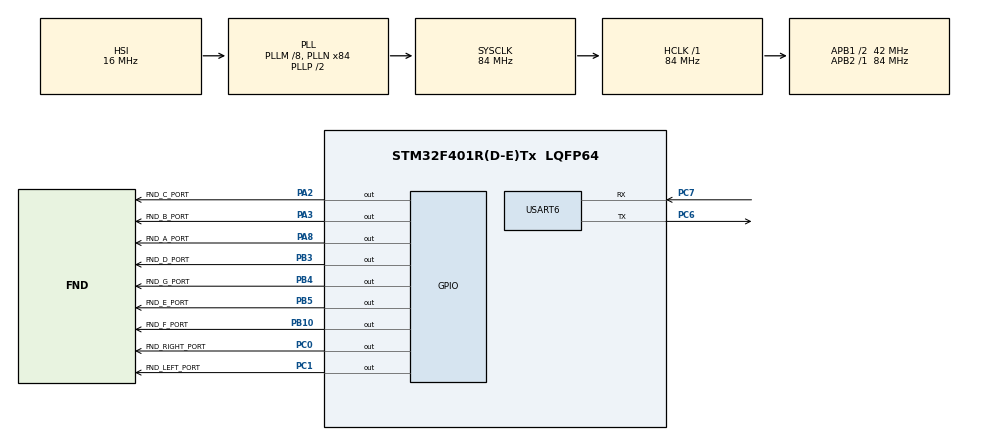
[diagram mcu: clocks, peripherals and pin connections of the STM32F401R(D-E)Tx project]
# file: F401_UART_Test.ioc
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Mcu.Family=STM32F4
Mcu.Name=STM32F401R(D-E)Tx
Mcu.Package=LQFP64
NVIC.PriorityGroup=NVIC_PRIORITYGROUP_4
NVIC.USART6_IRQn=true\:0\:0\:false\:false\:true\:true\:true
PA13.Mode=Serial_Wire
PA13.Signal=SYS_JTMS-SWDIO
PA14.Mode=Serial_Wire
PA14.Signal=SYS_JTCK-SWCLK
PA2.GPIO_Label=FND_C_PORT
PA2.PinState=GPIO_PIN_SET
PA2.Signal=GPIO_Output
PA3.GPIO_Label=FND_B_PORT
PA3.PinState=GPIO_PIN_SET
PA3.Signal=GPIO_Output
PA8.GPIO_Label=FND_A_PORT
PA8.PinState=GPIO_PIN_SET
PA8.Signal=GPIO_Output
PB10.GPIO_Label=FND_F_PORT
PB10.PinState=GPIO_PIN_SET
PB10.Signal=GPIO_Output
PB3.GPIO_Label=FND_D_PORT
PB3.PinState=GPIO_PIN_SET
PB3.Signal=GPIO_Output
PB4.GPIO_Label=FND_G_PORT
PB4.PinState=GPIO_PIN_SET
PB4.Signal=GPIO_Output
PB5.GPIO_Label=FND_E_PORT
PB5.PinState=GPIO_PIN_SET
PB5.Signal=GPIO_Output
PC0.GPIO_Label=FND_RIGHT_PORT
PC0.Signal=GPIO_Output
PC1.GPIO_Label=FND_LEFT_PORT
PC1.Signal=GPIO_Output
PC6.Mode=Asynchronous
PC6.Signal=USART6_TX
PC7.Mode=Asynchronous
PC7.Signal=USART6_RX
ProjectManager.HeapSize=0x200
ProjectManager.StackSize=0x400
ProjectManager.TargetToolchain=STM32CubeIDE
RCC.48MHZClocksFreq_Value=42000000
RCC.AHBFreq_Value=84000000
RCC.APB1CLKDivider=RCC_HCLK_DIV2
RCC.APB1Freq_Value=42000000
RCC.APB1TimFreq_Value=84000000
RCC.APB2Freq_Value=84000000
RCC.APB2TimFreq_Value=84000000
RCC.CortexFreq_Value=84000000
RCC.HCLKFreq_Value=84000000
RCC.HSE_VALUE=25000000
RCC.HSI_VALUE=16000000
RCC.LSE_VALUE=32768
RCC.PLLM=8
RCC.PLLN=84
RCC.SYSCLKFreq_VALUE=84000000
RCC.SYSCLKSource=RCC_SYSCLKSOURCE_PLLCLK
RCC.VCOOutputFreq_Value=168000000
USART6.VirtualMode=VM_ASYNC
board=custom

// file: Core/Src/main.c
/* USER CODE BEGIN Header */
/**
  ******************************************************************************
  * @file           : main.c
  * @brief          : Main program body
  ******************************************************************************
  * @attention
  *
  * <h2><center>&copy; Copyright (c) 2021 STMicroelectronics.
  * All rights reserved.</center></h2>
  *
  * This software component is licensed by ST under BSD 3-Clause license,
  * the "License"; You may not use this file except in compliance with the
  * License. You may obtain a copy of the License at:
  *                        opensource.org/licenses/BSD-3-Clause
  *
  ******************************************************************************
  */
/* USER CODE END Header */
#include "main.h"

UART_HandleTypeDef huart6;

void SystemClock_Config(void);
static void MX_GPIO_Init(void);
static void MX_USART6_UART_Init(void);
/* USER CODE BEGIN PFP */
unsigned char g_UART_RX_Status = 0;
unsigned char g_UART_RX_Buffer[1] = {0};
/* USER CODE END PFP */

/* USER CODE BEGIN 0 */
#define HIGH	1
#define LOW 	0
#define ONE_BYTE 	1
#define	FND_COM_LEFT_CLEAR		HAL_GPIO_WritePin(GPIOC, FND_LEFT_PORT_Pin, GPIO_PIN_SET); \
								HAL_GPIO_WritePin(GPIOC, FND_RIGHT_PORT_Pin, GPIO_PIN_RESET);

#define	FND_COM_RIGHT_CLEAR		HAL_GPIO_WritePin(GPIOC, FND_RIGHT_PORT_Pin, GPIO_PIN_SET); \
								HAL_GPIO_WritePin(GPIOC, FND_LEFT_PORT_Pin, GPIO_PIN_RESET);

#define FND_SEG_NUM0_DISP	  HAL_GPIO_WritePin(GPIOA, FND_C_PORT_Pin|FND_B_PORT_Pin|FND_A_PORT_Pin, GPIO_PIN_RESET); \
						      HAL_GPIO_WritePin(GPIOB, FND_F_PORT_Pin|FND_D_PORT_Pin|FND_E_PORT_Pin, GPIO_PIN_RESET); \
							  HAL_GPIO_WritePin(GPIOB, FND_G_PORT_Pin, GPIO_PIN_SET);

#define FND_SEG_NUM1_DISP	  HAL_GPIO_WritePin(GPIOA, FND_B_PORT_Pin|FND_C_PORT_Pin, GPIO_PIN_RESET); \
							  HAL_GPIO_WritePin(GPIOA, FND_A_PORT_Pin, GPIO_PIN_SET); \
							  HAL_GPIO_WritePin(GPIOB, FND_F_PORT_Pin|FND_D_PORT_Pin|FND_G_PORT_Pin|FND_E_PORT_Pin, GPIO_PIN_SET);

#define FND_SEG_NUM2_DISP	  HAL_GPIO_WritePin(GPIOA, FND_B_PORT_Pin|FND_A_PORT_Pin, GPIO_PIN_RESET); \
						      HAL_GPIO_WritePin(GPIOB, FND_D_PORT_Pin|FND_G_PORT_Pin|FND_E_PORT_Pin, GPIO_PIN_RESET); \
						      HAL_GPIO_WritePin(GPIOA, FND_C_PORT_Pin, GPIO_PIN_SET); \
						      HAL_GPIO_WritePin(GPIOB, FND_F_PORT_Pin, GPIO_PIN_SET);

#define FND_SEG_NUM3_DISP	  HAL_GPIO_WritePin(GPIOA, FND_C_PORT_Pin|FND_B_PORT_Pin|FND_A_PORT_Pin, GPIO_PIN_RESET); \
						      HAL_GPIO_WritePin(GPIOB, FND_D_PORT_Pin|FND_G_PORT_Pin, GPIO_PIN_RESET); \
						      HAL_GPIO_WritePin(GPIOB, FND_F_PORT_Pin|FND_E_PORT_Pin, GPIO_PIN_SET);

#define FND_SEG_NUM4_DISP	  HAL_GPIO_WritePin(GPIOA, FND_C_PORT_Pin|FND_B_PORT_Pin, GPIO_PIN_RESET); \
						      HAL_GPIO_WritePin(GPIOB, FND_F_PORT_Pin|FND_G_PORT_Pin, GPIO_PIN_RESET); \
						      HAL_GPIO_WritePin(GPIOA, FND_A_PORT_Pin, GPIO_PIN_SET); \
						      HAL_GPIO_WritePin(GPIOB, FND_E_PORT_Pin|FND_D_PORT_Pin, GPIO_PIN_SET);

#define FND_SEG_NUM5_DISP	  HAL_GPIO_WritePin(GPIOA, FND_C_PORT_Pin|FND_A_PORT_Pin, GPIO_PIN_RESET); \
						      HAL_GPIO_WritePin(GPIOB, FND_F_PORT_Pin|FND_D_PORT_Pin|FND_G_PORT_Pin, GPIO_PIN_RESET); \
						      HAL_GPIO_WritePin(GPIOB, FND_E_PORT_Pin, GPIO_PIN_SET); \
						      HAL_GPIO_WritePin(GPIOA, FND_B_PORT_Pin, GPIO_PIN_SET);

#define FND_SEG_NUM6_DISP	  HAL_GPIO_WritePin(GPIOA, FND_C_PORT_Pin|FND_A_PORT_Pin, GPIO_PIN_RESET); \
						      HAL_GPIO_WritePin(GPIOB, FND_F_PORT_Pin|FND_D_PORT_Pin|FND_G_PORT_Pin|FND_E_PORT_Pin, GPIO_PIN_RESET); \
						      HAL_GPIO_WritePin(GPIOA, FND_B_PORT_Pin, GPIO_PIN_SET);

#define FND_SEG_NUM7_DISP	  HAL_GPIO_WritePin(GPIOA, FND_C_PORT_Pin|FND_B_PORT_Pin|FND_A_PORT_Pin, GPIO_PIN_RESET); \
						      HAL_GPIO_WritePin(GPIOB, FND_F_PORT_Pin, GPIO_PIN_RESET); \
						      HAL_GPIO_WritePin(GPIOB, FND_D_PORT_Pin|FND_G_PORT_Pin|FND_E_PORT_Pin, GPIO_PIN_SET); \

#define FND_SEG_NUM8_DISP	  HAL_GPIO_WritePin(GPIOA, FND_C_PORT_Pin|FND_B_PORT_Pin|FND_A_PORT_Pin, GPIO_PIN_RESET); \
						      HAL_GPIO_WritePin(GPIOB, FND_F_PORT_Pin|FND_D_PORT_Pin|FND_G_PORT_Pin|FND_E_PORT_Pin, GPIO_PIN_RESET);

#define FND_SEG_NUM9_DISP	  HAL_GPIO_WritePin(GPIOA, FND_C_PORT_Pin|FND_B_PORT_Pin|FND_A_PORT_Pin, GPIO_PIN_RESET); \
						      HAL_GPIO_WritePin(GPIOB, FND_F_PORT_Pin|FND_G_PORT_Pin|FND_D_PORT_Pin, GPIO_PIN_RESET); \
						      HAL_GPIO_WritePin(GPIOB, FND_E_PORT_Pin, GPIO_PIN_SET);
/* USER CODE END 0 */

int main(void)
{
  /* USER CODE BEGIN 1 */
	void FND_SEG_CTRL(unsigned char Disp_Seg_Num)
	{
		FND_COM_RIGHT_CLEAR
		switch(Disp_Seg_Num)
		{
		case '0':
			FND_SEG_NUM0_DISP
			break;
		case '1':
			FND_SEG_NUM1_DISP
			break;
		case '2':
			FND_SEG_NUM2_DISP
			break;
		case '3':
			FND_SEG_NUM3_DISP
			break;
		case '4':
			FND_SEG_NUM4_DISP
			break;
		case '5':
			FND_SEG_NUM5_DISP
			break;
		case '6':
			FND_SEG_NUM6_DISP
			break;
		case '7':
			FND_SEG_NUM7_DISP
			break;
		case '8':
			FND_SEG_NUM8_DISP
			break;
		case '9':
			FND_SEG_NUM9_DISP
			break;
		default:
			FND_SEG_NUM0_DISP
     			break;
		}
	}
  /* USER CODE END 1 */

  /* MCU Configuration--------------------------------------------------------*/

  /* Reset of all peripherals, Initializes the Flash interface and the Systick. */
  HAL_Init();

  /* Configure the system clock */
  SystemClock_Config();

  /* Initialize all configured peripherals */
  MX_GPIO_Init();
  MX_USART6_UART_Init();
  /* USER CODE BEGIN 2 */
  HAL_UART_Receive_IT(&huart6, &g_UART_RX_Buffer[1], ONE_BYTE);
  /* USER CODE END 2 */

  /* Infinite loop */
  while (1)
  {

    /* USER CODE BEGIN 3 */
	  if(g_UART_RX_Status == HIGH)
	  {
		  g_UART_RX_Status = LOW;

		  HAL_UART_Receive_IT(&huart6, &g_UART_RX_Buffer[1], ONE_BYTE);
	  }

	  FND_SEG_CTRL(g_UART_RX_Buffer[1]);

  }
  /* USER CODE END 3 */
}

void SystemClock_Config(void)
{
  RCC_OscInitTypeDef RCC_OscInitStruct = {0};
  RCC_ClkInitTypeDef RCC_ClkInitStruct = {0};

  /** Configure the main internal regulator output voltage
  */
  __HAL_RCC_PWR_CLK_ENABLE();
  __HAL_PWR_VOLTAGESCALING_CONFIG(PWR_REGULATOR_VOLTAGE_SCALE2);
  /** Initializes the RCC Oscillators according to the specified parameters
  * in the RCC_OscInitTypeDef structure.
  */
  RCC_OscInitStruct.OscillatorType = RCC_OSCILLATORTYPE_HSI;
  RCC_OscInitStruct.HSIState = RCC_HSI_ON;
  RCC_OscInitStruct.HSICalibrationValue = RCC_HSICALIBRATION_DEFAULT;
  RCC_OscInitStruct.PLL.PLLState = RCC_PLL_ON;
  RCC_OscInitStruct.PLL.PLLSource = RCC_PLLSOURCE_HSI;
  RCC_OscInitStruct.PLL.PLLM = 8;
  RCC_OscInitStruct.PLL.PLLN = 84;
  RCC_OscInitStruct.PLL.PLLP = RCC_PLLP_DIV2;
  RCC_OscInitStruct.PLL.PLLQ = 4;
  if (HAL_RCC_OscConfig(&RCC_OscInitStruct) != HAL_OK)
  {
    Error_Handler();
  }
  /** Initializes the CPU, AHB and APB buses clocks
  */
  RCC_ClkInitStruct.ClockType = RCC_CLOCKTYPE_HCLK|RCC_CLOCKTYPE_SYSCLK
                              |RCC_CLOCKTYPE_PCLK1|RCC_CLOCKTYPE_PCLK2;
  RCC_ClkInitStruct.SYSCLKSource = RCC_SYSCLKSOURCE_PLLCLK;
  RCC_ClkInitStruct.AHBCLKDivider = RCC_SYSCLK_DIV1;
  RCC_ClkInitStruct.APB1CLKDivider = RCC_HCLK_DIV2;
  RCC_ClkInitStruct.APB2CLKDivider = RCC_HCLK_DIV1;

  if (HAL_RCC_ClockConfig(&RCC_ClkInitStruct, FLASH_LATENCY_2) != HAL_OK)
  {
    Error_Handler();
  }
}

static void MX_USART6_UART_Init(void)
{

  huart6.Instance = USART6;
  huart6.Init.BaudRate = 115200;
  huart6.Init.WordLength = UART_WORDLENGTH_8B;
  huart6.Init.StopBits = UART_STOPBITS_1;
  huart6.Init.Parity = UART_PARITY_NONE;
  huart6.Init.Mode = UART_MODE_TX_RX;
  huart6.Init.HwFlowCtl = UART_HWCONTROL_NONE;
  huart6.Init.OverSampling = UART_OVERSAMPLING_16;
  if (HAL_UART_Init(&huart6) != HAL_OK)
  {
    Error_Handler();
  }

}

static void MX_GPIO_Init(void)
{
  GPIO_InitTypeDef GPIO_InitStruct = {0};

  /* GPIO Ports Clock Enable */
  __HAL_RCC_GPIOC_CLK_ENABLE();
  __HAL_RCC_GPIOA_CLK_ENABLE();
  __HAL_RCC_GPIOB_CLK_ENABLE();

  /*Configure GPIO pin Output Level */
  HAL_GPIO_WritePin(GPIOC, FND_RIGHT_PORT_Pin|FND_LEFT_PORT_Pin, GPIO_PIN_RESET);

  /*Configure GPIO pin Output Level */
  HAL_GPIO_WritePin(GPIOA, FND_C_PORT_Pin|FND_B_PORT_Pin|FND_A_PORT_Pin, GPIO_PIN_SET);

  /*Configure GPIO pin Output Level */
  HAL_GPIO_WritePin(GPIOB, FND_F_PORT_Pin|FND_D_PORT_Pin|FND_G_PORT_Pin|FND_E_PORT_Pin, GPIO_PIN_SET);

  /*Configure GPIO pins : FND_RIGHT_PORT_Pin FND_LEFT_PORT_Pin */
  GPIO_InitStruct.Pin = FND_RIGHT_PORT_Pin|FND_LEFT_PORT_Pin;
  GPIO_InitStruct.Mode = GPIO_MODE_OUTPUT_PP;
  GPIO_InitStruct.Pull = GPIO_NOPULL;
  GPIO_InitStruct.Speed = GPIO_SPEED_FREQ_LOW;
  HAL_GPIO_Init(GPIOC, &GPIO_InitStruct);

  /*Configure GPIO pins : FND_C_PORT_Pin FND_B_PORT_Pin FND_A_PORT_Pin */
  GPIO_InitStruct.Pin = FND_C_PORT_Pin|FND_B_PORT_Pin|FND_A_PORT_Pin;
  GPIO_InitStruct.Mode = GPIO_MODE_OUTPUT_PP;
  GPIO_InitStruct.Pull = GPIO_NOPULL;
  GPIO_InitStruct.Speed = GPIO_SPEED_FREQ_LOW;
  HAL_GPIO_Init(GPIOA, &GPIO_InitStruct);

  /*Configure GPIO pins : FND_F_PORT_Pin FND_D_PORT_Pin FND_G_PORT_Pin FND_E_PORT_Pin */
  GPIO_InitStruct.Pin = FND_F_PORT_Pin|FND_D_PORT_Pin|FND_G_PORT_Pin|FND_E_PORT_Pin;
  GPIO_InitStruct.Mode = GPIO_MODE_OUTPUT_PP;
  GPIO_InitStruct.Pull = GPIO_NOPULL;
  GPIO_InitStruct.Speed = GPIO_SPEED_FREQ_LOW;
  HAL_GPIO_Init(GPIOB, &GPIO_InitStruct);

}

/* USER CODE BEGIN 4 */
void HAL_UART_RxCpltCallback(UART_HandleTypeDef *huart)
{
	g_UART_RX_Status = HIGH;
}
/* USER CODE END 4 */

void Error_Handler(void)
{
  __disable_irq();
  while (1)
  {
  }
}

/************************ (C) COPYRIGHT STMicroelectronics *****END OF FILE****/
